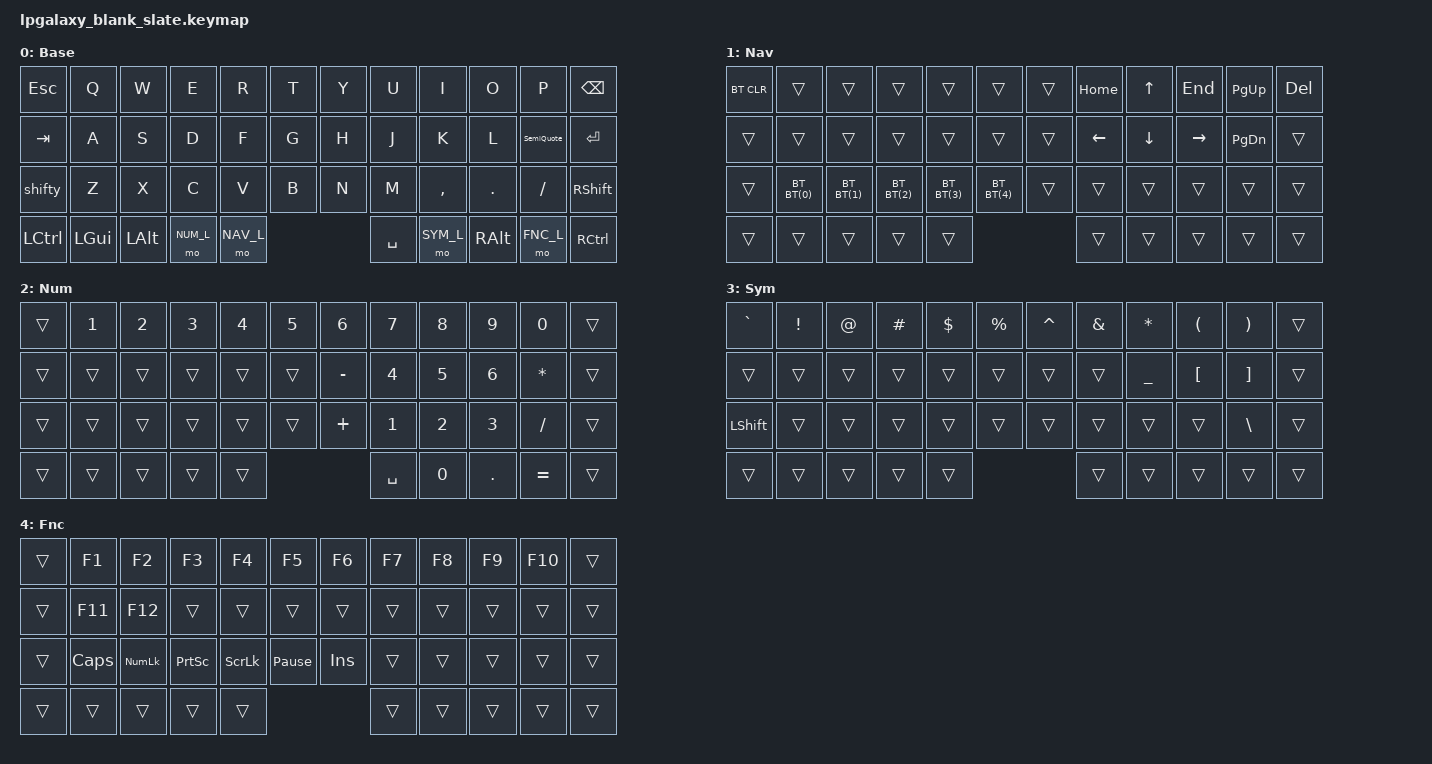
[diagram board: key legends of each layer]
/*
 * Copyright (c) 2022 Pete Johanson
 *
 * SPDX-License-Identifier: MIT
 */

#include <behaviors.dtsi>
#include <dt-bindings/zmk/keys.h>
#include <dt-bindings/zmk/bt.h>
#include <dt-bindings/zmk/outputs.h>

#define QWERTY_BASE 1

// #define TBLE_ORTHO   1
// #define TBLE_MIT     1
#define TBLE_DUAL_2U 1

#define NAV_L 1
#define NUM_L 2
#define SYM_L 3
#define FNC_L 4

// Using layer taps on thumbs, having quick tap as well helps w/ repeating space/backspace
// &lt { quick_tap_ms = <200>; };

#define BT(n) BT_SEL n

/ {
    chosen {
       zmk,physical-layout =
#ifdef TBLE_DUAL_2U
                       &layout_ortho_4x12_2x2u;
#elif defined(TBLE_MIT)
                       &layout_ortho_4x12_1x2u;
#else
                       &layout_ortho_4x12_all1u;
#endif
    };

    macros {
      ZMK_MACRO(thumbs_up,
		wait-ms = <1>;
		tap-ms = <5>;
                bindings = <&kp PLUS &kp COLON &kp PLUS &kp N1 &kp COLON &kp RET>;
		)
    };
    
    tap_dances {
    	shifty: shift_caps_word {
		compatible = "zmk,behavior-tap-dance";
		label = "TD_SHIFTY";
		#binding-cells = <0>;
		tapping-term-ms = <250>;
		bindings = <&kp LSHFT>, <&caps_word>;
	};
		SemiQuote: semicolon_singlequote {
		compatible = "zmk,behavior-tap-dance";
		label = "TD_SEMIQUOTE";
		#binding-cells = <0>;
		tapping-term-ms = <250>;
		bindings = <&kp SEMI>, <&kp APOS>;
    };
	};

// Conditional layer only when we have less thumb keys
// #ifdef TBLE_DUAL_2U
//  cond_layers {
//      compatible = "zmk,conditional-layers";
//	tri {
//	    if-layers = <NUM_L NAV_L>;
//	    then-layer = <SYM_L>;
//      };
//    };
//#endif

    keymap {
        compatible = "zmk,keymap";

        base_layer {
            label = "Base";
            bindings = <
#ifdef QWERTY_BASE
 &kp ESC    &kp Q      &kp W      &kp E       &kp R          &kp T          &kp Y            &kp U          &kp I       &kp O      &kp P         &kp BKSP
 &kp TAB    &kp A      &kp S      &kp D       &kp F          &kp G          &kp H            &kp J          &kp K       &kp L      &SemiQuote    &kp RET
 &shifty    &kp Z      &kp X      &kp C       &kp V          &kp B          &kp N            &kp M          &kp COMMA   &kp DOT    &kp FSLH      &kp RSHFT
#else
 &kp ESC    &kp Q      &kp W      &kp F       &kp P          &kp B          &kp J            &kp L          &kp U       &kp Y      &kp QUOT      &kp BKSP
 &kp TAB    &kp A      &kp R      &kp S       &kp T          &kp G          &kp M            &kp N          &kp E       &kp I      &kp O         &kp QUOT
 &kp LSHFT  &kp Z      &kp X      &kp C       &kp D          &kp V          &kp K            &kp H          &kp COMMA   &kp DOT    &kp SEMI      &kp RET
#endif
#ifdef TBLE_DUAL_2U
 &kp LCTRL  &kp LGUI   &kp LALT   &mo NUM_L         &mo NAV_L                      &kp SPACE                &mo SYM_L   &kp RALT   &mo FNC_L      &kp RCTRL
#elif defined(TBLE_MIT)
 &kp LCTRL  &mo SYM_L   &kp LGUI  &kp LALT    &mo NAV_L          &kp SPACE                   &mo NUM_L      &kp LEFT    &kp UP     &kp DOWN      &kp RIGHT
#else
 &kp LCTRL  &mo SYM_L   &kp LGUI  &kp LALT    &mo NAV_L      &kp SPACE      &kp RET          &mo NUM_L      &kp LEFT    &kp UP     &kp DOWN      &kp RIGHT
#endif
            >;
        };

        nav_layer {
            label = "Nav";
            bindings = <
&bt BT_CLR &trans     &trans     &trans      &trans          &trans       &trans     &kp HOME   &kp UP     &kp END    &kp PG_UP  &kp DEL
&trans     &trans     &trans     &trans      &trans          &trans       &trans     &kp LEFT   &kp DOWN   &kp RIGHT  &kp PG_DN  &trans
&trans     &bt BT(0)  &bt BT(1)  &bt BT(2)   &bt BT(3)       &bt BT(4)    &trans     &trans     &trans     &trans     &trans     &trans
#ifdef TBLE_DUAL_2U
&trans  &trans        &trans     &trans              &trans                    &trans       &trans         &trans &trans &trans
#elif defined(TBLE_MIT)
&trans  &trans        &trans     &trans      &trans                &trans             &trans      &trans   &trans &trans &trans
#else
&trans  &trans        &trans     &trans      &trans          &trans       &trans    &trans  &trans         &trans &trans &trans
#endif
            >;
        };

        num_layer {
            label = "Num";
            bindings = <
&trans     &kp N1   &kp N2   &kp N3   &kp N4    &kp N5    &kp N6        &kp N7     &kp N8      &kp N9       &kp N0     &trans
&trans     &trans   &trans   &trans   &trans    &trans    &kp MINUS     &kp N4     &kp N5      &kp N6       &kp STAR   &trans
&trans     &trans   &trans   &trans   &trans    &trans    &kp PLUS      &kp N1     &kp N2      &kp N3       &kp FSLH   &trans
#ifdef TBLE_DUAL_2U
&trans  &trans       &trans     &trans             &trans               &kp SPACE  &kp N0      &kp DOT      &kp EQUAL  &trans
#elif defined(TBLE_MIT)
&trans  &trans       &trans     &kp N0      &trans           &none            &trans        &kp DEL      &trans &trans &trans
#else
&trans  &trans       &trans     &kp N0      &trans    &none         &none     &kp ESC        &kp DEL      &trans &trans &trans
#endif
            >;
        };

        sym_layer {
            label = "Sym";
            bindings = <
&kp GRAVE  &kp EXCL   &kp AT    &kp HASH   &kp DLLR   &kp PRCNT  &kp CARET  &kp AMPS  &kp STAR     &kp LPAR     &kp RPAR     &trans
&trans     &trans     &trans     &trans     &trans     &trans     &trans     &trans   &kp UNDER    &kp LBKT     &kp RBKT     &trans
&kp LSHFT  &trans     &trans     &trans     &trans     &trans     &trans     &trans    &trans       &trans      &kp BSLH     &trans
#ifdef TBLE_DUAL_2U
&trans &trans        &trans     &trans                &trans                    &trans       &trans         &trans &trans &trans
#elif defined(TBLE_MIT)
&trans &trans        &trans     &kp RPAR        &trans                &trans             &trans      &trans   &trans &trans &trans
#else
&trans &trans        &trans     &kp RPAR        &trans          &trans       &trans    &trans  &trans         &trans &trans &trans
#endif
            >;
        };

		fnc_layer {
            label = "Fnc";
            bindings = <
&trans    &kp F1      &kp F2          &kp F3       &kp F4         &kp F5         &kp F6      &kp F7     &kp F8      &kp F9       &kp F10    &trans
&trans    &kp F11      &kp F12         &trans       &trans         &trans         &trans      &trans     &trans      &trans       &trans     &trans
&trans    &kp CAPS  &kp KP_NUMLOCK    &kp PSCRN    &kp SLCK    &kp PAUSE_BREAK    &kp INS     &trans     &trans      &trans       &trans     &trans
#ifdef TBLE_DUAL_2U
&trans  &trans       &trans     &trans             &trans               &trans         &trans       &trans       &trans     &trans
#elif defined(TBLE_MIT)
&trans  &trans       &trans     &kp N0      &trans           &none            &trans        &kp DEL      &trans &trans &trans
#else
&trans  &trans       &trans     &kp N0      &trans    &none         &none     &kp ESC        &kp DEL      &trans &trans &trans
#endif
            >;
        };

    };
};

